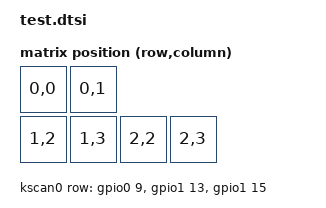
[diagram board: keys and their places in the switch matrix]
#include <dt-bindings/zmk/matrix_transform.h>

/ {
    chosen {
        zmk,kscan = &kscan0;
        zmk,matrix-transform = &default_transform;
    };

    default_transform: keymap_transform0 {
        compatible = "zmk,matrix-transform";
        columns = <2>;
        rows = <1>;
        map = <
        //  |LKey 1  |LKey 2
             RC(0,0)  RC(0,1)  
        // thumb cluster row: 1, 2
        // thumb cluster col: 2, 3
             RC(1,2)  RC(1,3)  RC(2,2)  RC(2,3)
        >;
    };

    kscan0: kscan {
    compatible = "zmk,kscan-gpio-matrix";
    wakeup-source;
    diode-direction = "row2col";

    row-gpios = 
                <&gpio0 9 GPIO_ACTIVE_HIGH>,
                <&gpio1 13 GPIO_ACTIVE_HIGH>,
                <&gpio1 15 GPIO_ACTIVE_HIGH>;
        
    };
};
